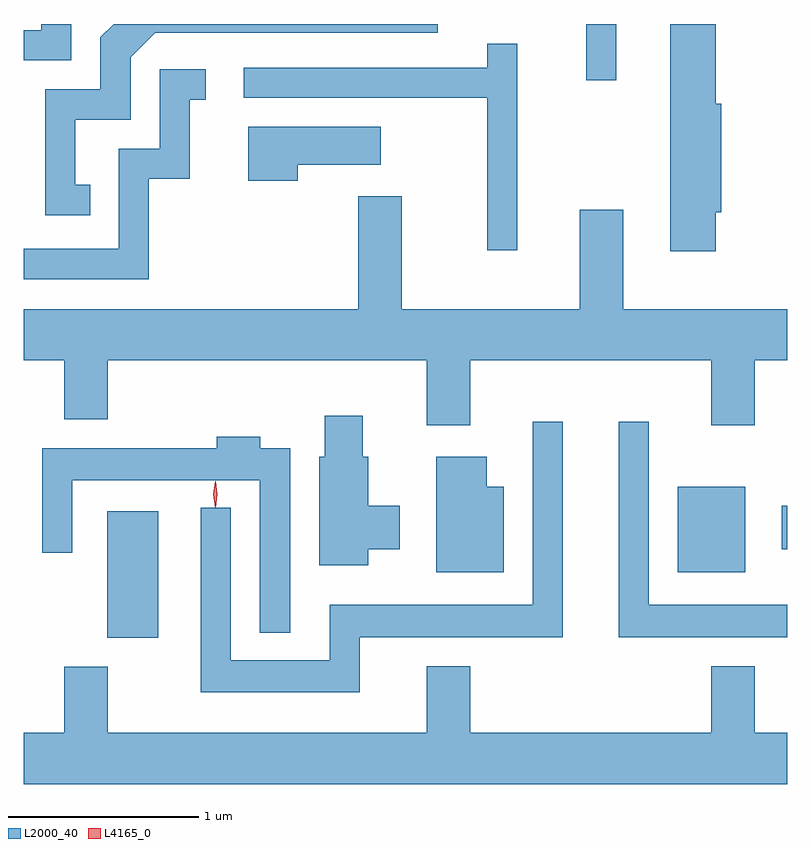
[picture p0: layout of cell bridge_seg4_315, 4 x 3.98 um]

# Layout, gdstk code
import gdstk
lib = gdstk.Library(unit=1e-6, precision=1e-09)
def R(c, l, rs):  # rectangles x0, y0, x1, y1
    for r in rs: c.add(gdstk.rectangle(r[:2], r[2:], *l))
def P(c, l, *ps):  # polygons
    for p in ps: c.add(gdstk.Polygon(p, *l))
L2000_40 = (2000, 40)
L4165_0 = (4165, 0)

bridge_seg4_315 = lib.new_cell('bridge_seg4_315')
R(bridge_seg4_315, L2000_40, [(517.186,1311.041,517.454,1311.704), (520.176,1311.386,520.529,1311.834), (520.721,1311.506,520.749,1311.734), (519.696,1313.963,519.854,1314.257)])
P(bridge_seg4_315, L2000_40, [(516.999,1314.257),(516.841,1314.257),(516.841,1314.224),(516.749,1314.224),(516.749,1314.066),(516.999,1314.066)],
  [(520.374,1313.271),(520.404,1313.271),(520.404,1313.839),(520.374,1313.839),(520.374,1314.257),(520.136,1314.257),(520.136,1313.066),(520.374,1313.066)],
  [(517.097,1313.414),(517.019,1313.414),(517.019,1313.756),(517.309,1313.756),(517.309,1314.084),(517.437,1314.211),(518.919,1314.211),(518.919,1314.257),(517.221,1314.257),(517.151,1314.187),(517.151,1313.914),(516.861,1313.914),(516.861,1313.256),(517.097,1313.256)],
  [(519.334,1314.153),(519.176,1314.153),(519.176,1314.029),(517.903,1314.029),(517.903,1313.871),(519.176,1313.871),(519.176,1313.073),(519.334,1313.073)],
  [(517.404,1313.446),(517.619,1313.446),(517.619,1313.861),(517.703,1313.861),(517.703,1314.019),(517.461,1314.019),(517.461,1313.604),(517.246,1313.604),(517.246,1313.079),(516.749,1313.079),(516.749,1312.921),(517.404,1312.921)],
  [(518.184,1313.521),(518.619,1313.521),(518.619,1313.719),(517.926,1313.719),(517.926,1313.436),(518.184,1313.436)],
  [(519.089,1312.496),(520.351,1312.496),(520.351,1312.156),(520.579,1312.156),(520.579,1312.496),(520.749,1312.496),(520.749,1312.764),(519.889,1312.764),(519.889,1313.284),(519.661,1313.284),(519.661,1312.764),(518.729,1312.764),(518.729,1313.354),(518.501,1313.354),(518.501,1312.764),(516.749,1312.764),(516.749,1312.496),(516.961,1312.496),(516.961,1312.186),(517.189,1312.186),(517.189,1312.496),(518.861,1312.496),(518.861,1312.156),(519.089,1312.156)],
  [(518.554,1311.506),(518.719,1311.506),(518.719,1311.734),(518.554,1311.734),(518.554,1311.989),(518.524,1311.989),(518.524,1312.204),(518.326,1312.204),(518.326,1311.989),(518.296,1311.989),(518.296,1311.421),(518.554,1311.421)],
  [(520.749,1311.214),(520.024,1311.214),(520.024,1312.173),(519.866,1312.173),(519.866,1311.046),(520.749,1311.046)],
  [(518.509,1311.046),(519.574,1311.046),(519.574,1312.173),(519.416,1312.173),(519.416,1311.214),(518.351,1311.214),(518.351,1310.924),(517.834,1310.924),(517.834,1311.723),(517.676,1311.723),(517.676,1310.756),(518.509,1310.756)],
  [(518.144,1312.034),(517.989,1312.034),(517.989,1312.094),(517.761,1312.094),(517.761,1312.034),(516.846,1312.034),(516.846,1311.488),(517.004,1311.488),(517.004,1311.866),(517.986,1311.866),(517.986,1311.068),(518.144,1311.068)],
  [(519.264,1311.834),(519.174,1311.834),(519.174,1311.989),(518.911,1311.989),(518.911,1311.386),(519.264,1311.386)],
  [(520.749,1310.544),(520.579,1310.544),(520.579,1310.894),(520.351,1310.894),(520.351,1310.544),(519.089,1310.544),(519.089,1310.894),(518.861,1310.894),(518.861,1310.544),(517.189,1310.544),(517.189,1310.889),(516.961,1310.889),(516.961,1310.544),(516.749,1310.544),(516.749,1310.276),(520.749,1310.276)])
P(bridge_seg4_315, L4165_0, [(517.752,1311.724),(517.743,1311.793),(517.752,1311.862),(517.753,1311.863),(517.754,1311.862),(517.763,1311.793),(517.754,1311.724),(517.753,1311.724)])

lib.write_gds('bridge_seg4_315.gds')
